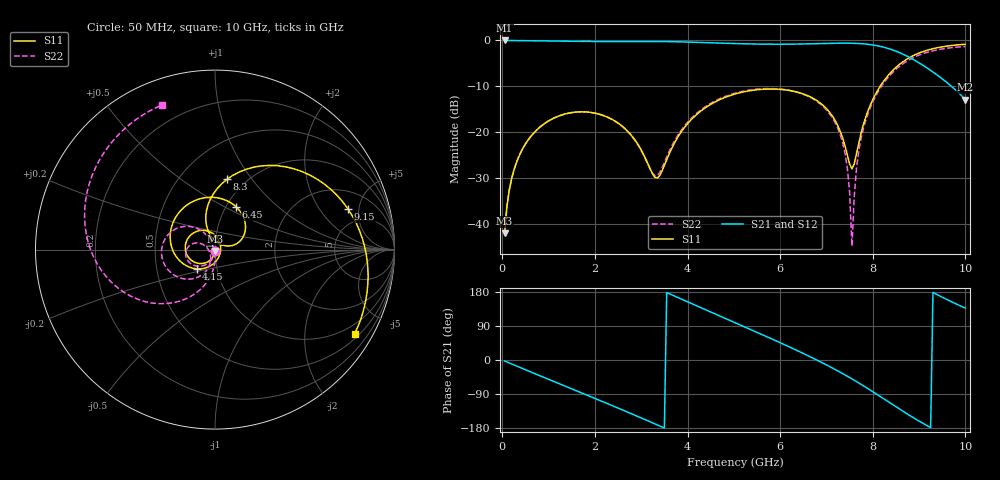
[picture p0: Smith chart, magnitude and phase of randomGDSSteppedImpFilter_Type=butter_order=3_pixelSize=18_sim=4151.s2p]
! freq	dB(S11)	phase(S11)	dB(S12)	phase(S12)
!  dB(S21)	phase(S21)	dB(S22)	phase(S22)
!S-par simulation data
#  GHz  S  DB  R 50
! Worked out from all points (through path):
!   200 points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, 50 MHz to 10 GHz, reference 50 ohm
!   highest |S21| = -0.01 dB at 50 MHz (marker M1); lowest = -12.9 dB at 10 GHz (marker M2)
!   group delay of S21, straight-line fit = 161 ps
!   lowest |S11| = -42.1 dB at 50 MHz (marker M3), VSWR 1.02, Z = 50 - j0.789 ohm
!   |S11| at or under -10 dB: start of sweep to 8.16 GHz
!   |S22| runs from -44.9 to -1.3 dB; largest |S21 - S12| = 0
!   S11 on the Smith chart (normalised r, x): 50 MHz: 1.00, -0.02; 4.15 GHz: 0.80, -0.17; 6.45 GHz: 1.11, +0.57; 8.3 GHz: 0.82, +0.76; 9.15 GHz: 3.39, +3.83; 10 GHz: 0.65, -3.49
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0.05  -42.05 -91.5  -0.01 -2.6  -0.01 -2.6  -42.04 -90.9
0.2  -30.23 -101.1  -0.02 -10.3  -0.02 -10.3  -30.22 -98.9
0.5  -22.58 -118.9  -0.06 -25.7  -0.06 -25.7  -22.57 -113.2
1.15  -16.77 -156.1  -0.16 -58.6  -0.16 -58.6  -16.76 -142.4
1.75  -15.57 169.1  -0.23 -88.7  -0.23 -88.7  -15.57 -167.9
2.5  -18.01 121.4  -0.22 -126.8  -0.22 -126.8  -18.07 164.0
3.4  -29.45 -29.2  -0.23 -174.1  -0.23 -174.1  -28.81 -137.3
4.15  -16.58 -133.8  -0.40 145.5  -0.40 145.5  -16.31 -116.4
5.05  -11.61 161.7  -0.69 97.2  -0.69 97.2  -11.43 -148.0
5.7  -10.61 116.6  -0.82 62.2  -0.82 62.2  -10.51 -172.4
6.45  -11.51 63.8  -0.78 20.2  -0.78 20.2  -11.55 158.3
6.7  -12.56 46.3  -0.73 5.5  -0.73 5.5  -12.68 147.7
7.35  -21.29 13.7  -0.59 -35.9  -0.59 -35.9  -22.35 118.2
7.5  -26.95 36.6  -0.60 -46.3  -0.60 -46.3  -33.13 119.0
7.55  -27.99 59.6  -0.61 -49.8  -0.61 -49.8  -44.87 -178.5
7.65  -24.61 99.2  -0.65 -57.1  -0.65 -57.1  -27.71 -89.7
7.75  -20.08 109.6  -0.70 -64.4  -0.70 -64.4  -21.23 -92.5
8.3  -8.03 80.4  -1.65 -107.4  -1.65 -107.4  -8.45 -128.4
8.35  -7.43 76.5  -1.81 -111.4  -1.81 -111.4  -7.85 -132.1
8.75  -4.00 45.4  -3.49 -142.8  -3.49 -142.8  -4.43 -161.7
9.15  -2.21 16.9  -5.86 -171.7  -5.86 -171.7  -2.66 169.5
10  -0.83 -31.0  -12.89 137.0  -12.89 137.0  -1.32 110.0
